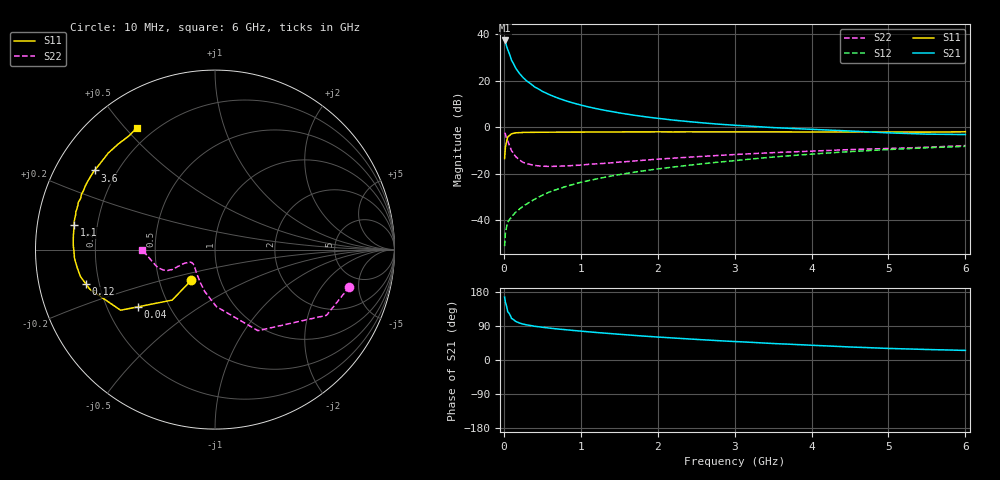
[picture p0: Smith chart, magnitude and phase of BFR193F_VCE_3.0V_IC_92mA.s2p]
! Infineon Technologies  Discrete & RF Semiconductors
! BFR193F
! VCE =  3.0 V,  IC =  92 mA
! Common Emitter S-Parameters:  Jan 2017
# GHz  S  MA  R  50
!  f  S11  S21  S12  S22
! GHz  MAG  ANG  MAG  ANG  MAG  ANG  MAG  ANG
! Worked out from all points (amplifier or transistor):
!   77 points, 10 MHz to 6 GHz, reference 50 ohm
!   highest |S21| = 37.4 dB at 10 MHz (marker M1)
!   |S21| within 3 dB of that: start of sweep to 40.94 MHz
!   unconditionally stable (mu >= 1): 358.8 MHz to 2.881 GHz
!   at 130 MHz: K = 0.72, MSG = 32.2 dB, |S12| = -37.3 dB
!   at 2.2 GHz: K = 1.06, MAG = 8.7 dB, |S12| = -17.0 dB
!   at 6 GHz: K = 0.91, MSG = 2.5 dB, |S12| = -8.1 dB
!   S11 on the Smith chart (normalised r, x): 10 MHz: 0.73, -0.26; 40 MHz: 0.33, -0.30; 120 MHz: 0.15, -0.13; 1.1 GHz: 0.11, +0.09; 3.6 GHz: 0.12, +0.30; 6 GHz: 0.14, +0.54
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0.01  0.215 -127.7  74.26 166.0  0.0028 78.2  0.7767 -15.5
0.02  0.369 -130.3  68.71 152.7  0.0053 72.1  0.7213 -30.5
0.04  0.5354 -143.4  53.16 138.1  0.0078 58.8  0.5599 -49.1
0.05  0.6249 -147.3  47.29 127.5  0.0091 55.0  0.5111 -62.1
0.1  0.7313 -162.4  27.96 109.8  0.0119 51.3  0.3177 -88.6
0.12  0.7436 -165.0  24.48 107.4  0.0131 52.9  0.2843 -93.7
0.15  0.7647 -168.7  19.36 102.3  0.0148 54.8  0.24 -103.9
0.2  0.7734 -172.2  14.7 97.8  0.0174 58.8  0.2019 -113.7
0.25  0.7804 -175.0  11.84 94.8  0.0203 62.5  0.1776 -122.4
0.3  0.7844 -176.6  9.912 92.6  0.0227 66.0  0.1669 -128.1
0.4  0.786 -179.4  7.454 88.9  0.0286 68.8  0.1525 -136.8
0.5  0.7894 178.7  5.987 86.4  0.0349 71.7  0.1468 -142.4
0.7  0.7922 175.1  4.304 81.8  0.0472 75.0  0.1465 -148.7
0.9  0.794 172.3  3.363 78.0  0.0595 75.8  0.1518 -152.6
1.1  0.7962 170.1  2.765 74.4  0.0717 76.4  0.1609 -153.7
1.5  0.8003 165.9  2.057 67.9  0.0969 76.7  0.1802 -155.5
2.1  0.8034 160.0  1.507 59.4  0.1344 75.9  0.2132 -155.7
3.1  0.8043 151.4  1.091 47.8  0.2006 73.3  0.2667 -155.2
3.6  0.8029 146.7  0.976 42.6  0.2381 71.0  0.2917 -156.6
4.1  0.7998 141.8  0.896 38.0  0.274 68.2  0.3144 -159.3
5.1  0.7967 131.4  0.755 30.0  0.3408 61.2  0.3575 -169.7
6  0.8064 122.6  0.705 25.3  0.3928 55.0  0.4077 -179.9
